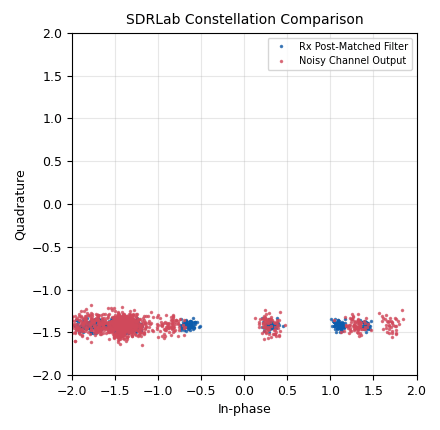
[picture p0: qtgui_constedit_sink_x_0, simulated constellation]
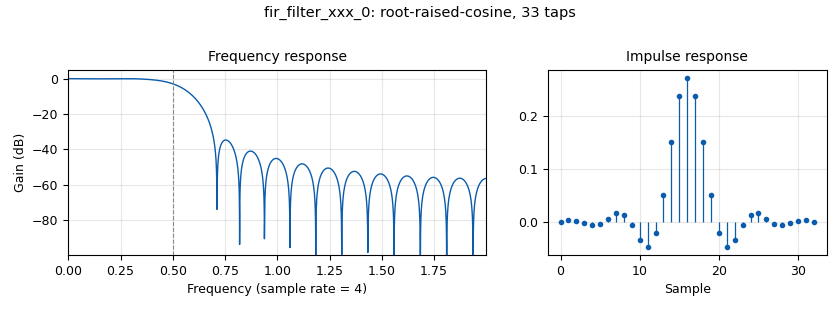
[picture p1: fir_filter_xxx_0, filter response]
options:
  parameters:
    author: SDRLab Contributors
    description: Configurable Wireless Communication Simulation Flowgraph
    generate_options: qt_gui
    id: sdrlab_simulation
    output_language: python
    run_command: '{python} -u {filename}.py'
    title: SDRLab Configurable Wireless Simulation
  states: {}

blocks:
- name: samp_rate
  id: variable
  parameters:
    value: '1000000'
  states: {}
- name: sps
  id: variable
  parameters:
    value: '4'
  states: {}
- name: excess_bw
  id: variable
  parameters:
    value: '0.35'
  states: {}
- name: eb_n0_db
  id: variable_qtgui_range
  parameters:
    label: Eb/N0 (dB)
    orient: pgcl.Qt.Horizontal
    outputmsgname: value
    showports: 'False'
    start: '0'
    step: '1'
    stop: '20'
    value: '10'
  states: {}
- name: constel
  id: variable_constellation
  parameters:
    const_points: '[-1, 1]'
    precision: '8'
    sym_map: '[0, 1]'
    type: qpsk
  states: {}
- name: analog_random_source_x_0
  id: analog_random_source_x
  parameters:
    max: '2'
    min: '0'
    num_samps: '1000'
    repeat: 'True'
    type: byte
  states: {}
- name: digital_constellation_modulator_0
  id: digital_constellation_modulator
  parameters:
    constellation: constel
    differential: 'False'
    excess_bw: excess_bw
    samples_per_symbol: sps
  states: {}
- name: channels_channel_model_0
  id: channels_channel_model
  parameters:
    epsilon: '1.0'
    freq_offset: '0.0'
    noise_voltage: '0.1'
    seed: '42'
    taps: '[1.0]'
  states: {}
- name: fir_filter_xxx_0
  id: fir_filter_xxx
  parameters:
    decim: '1'
    taps: filter.firdes.root_raised_cosine(1.0, sps, 1.0, excess_bw, 33)
    type: ccc
  states: {}
- name: qtgui_constedit_sink_x_0
  id: qtgui_const_sink_x
  parameters:
    grid: 'True'
    label1: Rx Post-Matched Filter
    label2: Noisy Channel Output
    name: '"SDRLab Constellation Comparison"'
    nconnections: '2'
    size: '1024'
    type: complex
  states: {}
- name: qtgui_frequency_sink_x_0
  id: qtgui_frequency_sink_x
  parameters:
    alpha1: '1.0'
    alpha2: '1.0'
    alpha3: '1.0'
    alpha4: '1.0'
    autoscale: 'False'
    average: '1.0'
    axislabels: 'True'
    bw: samp_rate
    color1: '"blue"'
    color2: '"red"'
    color3: '"green"'
    color4: '"black"'
    ctrlpanel: 'False'
    fc: '0'
    fftsize: '1024'
    freqhalf: 'True'
    grid: 'True'
    label1: Modulated Spectrum
    label2: Noisy Spectrum
    label3: ''
    label4: ''
    legend: 'True'
    name: '"SDRLab Spectrum (PSD)"'
    nconnections: '2'
    showports: 'False'
    tr_chan: '0'
    tr_level: '0.0'
    tr_mode: qtgui.TRIG_MODE_FREE
    tr_tag: '""'
    type: complex
    update_time: '0.10'
    wintype: window.WIN_BLACKMAN_harr
    ymax: '10'
    ymin: '-80'
  states: {}

connections:
- [analog_random_source_x_0, '0', digital_constellation_modulator_0, '0']
- [channels_channel_model_0, '0', fir_filter_xxx_0, '0']
- [channels_channel_model_0, '0', qtgui_constedit_sink_x_0, '1']
- [digital_constellation_modulator_0, '0', channels_channel_model_0, '0']
- [digital_constellation_modulator_0, '0', qtgui_frequency_sink_x_0, '0']
- [fir_filter_xxx_0, '0', qtgui_constedit_sink_x_0, '0']
- [fir_filter_xxx_0, '0', qtgui_frequency_sink_x_0, '1']

metadata:
  file_format: 1
